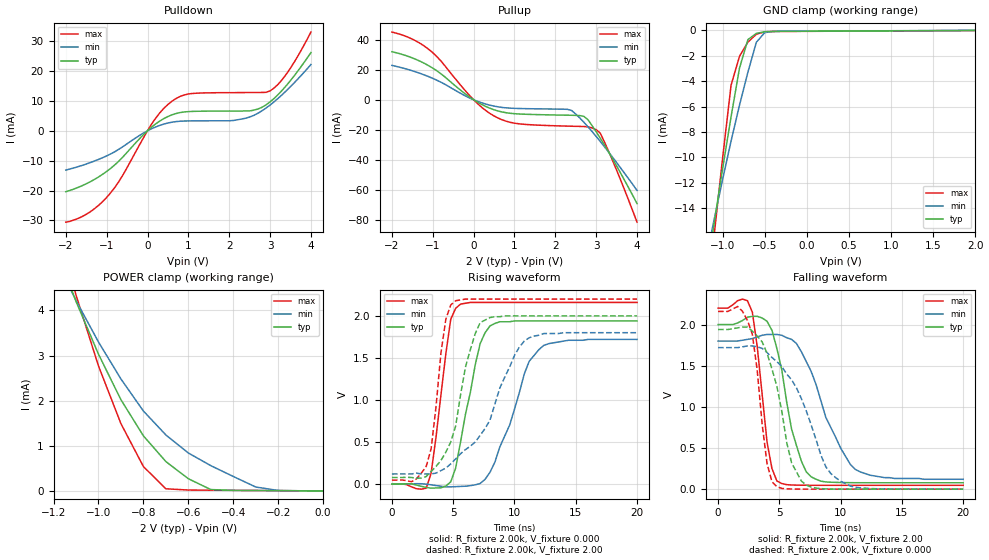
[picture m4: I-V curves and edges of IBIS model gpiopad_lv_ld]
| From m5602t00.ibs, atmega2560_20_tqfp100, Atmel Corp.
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|   Model gpiopad_lv_ld
[Model]   gpiopad_lv_ld
Model_type   I/O
Polarity   Non-Inverting
Enable   Active-High
Vinl =   0.60V
Vinh =   1.40V
Vmeas =   1.00V
Cref =  50.00pF
C_comp   4.21pF   4.21pF   4.61pF
[Temperature Range]   27.00   0.12k   -55.00
[Voltage Range]   2.00V   1.80V   2.20V
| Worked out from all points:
|   slope of the pulldown table from 0 to 0.3 V, typ, clamps not added: 92.3 ohm
|   slope of the pullup table from 0 to 0.3 V, typ, clamps not added: 66.4 ohm
|   GND clamp passes 1 mA (typ) near -0.71 V on its own axis
|   POWER clamp passes 1 mA (typ) near -0.76 V on its own axis
|   rising waveform, R_fixture 2.00k, V_fixture 0.000: 20-80 % time 1.56ns typ, 2.39ns min, 1.09ns max; typ from 0 V to 1.94 V
|   rising waveform, R_fixture 2.00k, V_fixture 2.00: 20-80 % time 1.76ns typ, 3.36ns min, 963ps max; typ from 0.078 V to 2 V
|   falling waveform, R_fixture 2.00k, V_fixture 2.00: 20-80 % time 1.6ns typ, 2.69ns min, 953ps max; typ from 2 V to 0.078 V
|   falling waveform, R_fixture 2.00k, V_fixture 0.000: 20-80 % time 1.68ns typ, 2.85ns min, 960ps max; typ from 1.94 V to 0 V
[Pulldown]
| voltage   I(typ)   I(min)   I(max)
-2V       -20.37mA   -13.12mA   -30.58mA
-1.5V     -17.71mA   -11.09mA   -27.95mA
-1V       -13.58mA   -8.36mA    -22.29mA
-600mV    -8.69mA    -5.24mA    -14.72mA
100mV     1.28mA     740uA      2.3mA
600mV     5.4mA      2.94mA     9.98mA
1V        6.48mA     3.36mA     12.39mA
2.1V      6.67mA     3.5mA      12.84mA
2.6V      6.96mA     5.2mA      12.88mA
3V        9.73mA     8.68mA     13.43mA
3.4V      15.24mA    13.5mA     19.07mA
4V        26.25mA    22.25mA    33.13mA
[Pullup]
| voltage   I(typ)   I(min)   I(max)
-2V       32.08mA    22.95mA    45.19mA
-1.5V     27.94mA    19.35mA    40.49mA
-1.1V     22.74mA    15.43mA    33.7mA
0V        0A         0A         0A
600mV     -7.51mA    -4.75mA    -12.24mA
1.1V      -9.48mA    -5.83mA    -16.03mA
2.4V      -10.36mA   -7.19mA    -17.68mA
2.7V      -11.11mA   -15.06mA   -17.89mA
3V        -21.38mA   -24.53mA   -19.98mA
3.1V      -25.69mA   -27.89mA   -22.32mA
3.3V      -34.72mA   -34.82mA   -34.18mA
4V        -69.32mA   -60.55mA   -81.76mA
[GND_clamp]
| voltage   I(typ)   I(min)   I(max)
-2V       -58.51mA   -46.45mA   -77.72mA
-1.2V     -19.57mA   -18.13mA   -22.37mA
-1.1V     -15.16mA   -14.88mA   -16.09mA
-1V       -10.88mA   -11.73mA   -10.05mA
-900mV    -6.81mA    -8.72mA    -4.32mA
-800mV    -2.97mA    -5.89mA    -2.04mA
-700mV    -720uA     -3.29mA    -920uA
-600mV    -230uA     -930uA     -300uA
-500mV    -100uA     -170uA     -110uA
-400mV    -75.52uA   -74.82uA   -83.8uA
2V        36.99pA    10.07uA    -6.36uA
[POWER_clamp]
| voltage   I(typ)   I(min)   I(max)
-2V       19.5mA     15.72mA    25.53mA
-1.2V     5.52mA     5.24mA     6.14mA
-1.1V     4.2mA      4.22mA     4.34mA
-1V       3.03mA     3.3mA      2.77mA
-900mV    2.02mA     2.48mA     1.49mA
-800mV    1.22mA     1.77mA     540uA
-700mV    650uA      1.24mA     47.1uA
-600mV    270uA      840uA      19.82uA
-500mV    29.93uA    560uA      15.93uA
-300mV    9.23uA     86.63uA    9.55uA
-200mV    6.15uA     10.07uA    6.37uA
0V        37.02pA    1.95nA     8.94pA
[Ramp]
| variable   typ   min   max
dV/dt_r   1.17/1.43n   1.03/2.31n   1.30/1.05n
dV/dt_f   1.15/1.56n   1.01/2.65n   1.29/0.91n
R_load = 2.00k
[Rising Waveform]
R_fixture = 2.00k
V_fixture = 0.000
V_fixture_min = 0.000
V_fixture_max = 0.000
| time   V(typ)   V(min)   V(max)
0s        0V         1.6uV      0V
2.8ns     -39.98mV   -1.06mV    -48.88mV
3.2ns     -48.25mV   -9.37mV    130mV
4.8ns     26.44mV    -33.24mV   1.96V
5.6ns     500mV      -27.64mV   2.14V
7.2ns     1.67V      6.63mV     2.16V
8ns       1.88V      140mV      2.16V
11.2ns    1.94V      1.46V      2.16V
12ns      1.94V      1.6V       2.16V
20ns      1.94V      1.72V      2.16V
[Rising Waveform]
R_fixture = 2.00k
V_fixture = 2.00
V_fixture_min = 1.80
V_fixture_max = 2.20
| time   V(typ)   V(min)   V(max)
0s        77.77mV    120mV      46.93mV
2.8ns     89.72mV    120mV      210mV
3.2ns     150mV      120mV      420mV
4.4ns     380mV      190mV      1.96V
5.2ns     690mV      300mV      2.18V
6ns       1.39V      410mV      2.2V
7.2ns     1.92V      580mV      2.2V
10ns      2V         1.53V      2.2V
11.2ns    2V         1.74V      2.2V
20ns      2V         1.8V       2.2V
[Falling Waveform]
R_fixture = 2.00k
V_fixture = 2.00
V_fixture_min = 1.80
V_fixture_max = 2.20
| time   V(typ)   V(min)   V(max)
0s        2V         1.8V       2.2V
2ns       2.05V      1.81V      2.31V
2.8ns     2.1V       1.83V      2.15V
4ns       2.04V      1.88V      570mV
4.8ns     1.71V      1.88V      100mV
6ns       730mV      1.82V      50.57mV
7.6ns     150mV      1.43V      47.27mV
8.8ns     87.68mV    870mV      46.94mV
11.2ns    78.3mV     240mV      46.93mV
20ns      77.76mV    120mV      46.93mV
[Falling Waveform]
R_fixture = 2.00k
V_fixture = 0.000
V_fixture_min = 0.000
V_fixture_max = 0.000
| time   V(typ)   V(min)   V(max)
0s        1.94V      1.72V      2.16V
1.6ns     1.96V      1.72V      2.22V
2.8ns     1.92V      1.74V      1.88V
4ns       1.65V      1.66V      310mV
4.8ns     1.25V      1.55V      29.69mV
6ns       320mV      1.33V      1.93mV
7.2ns     49.83mV    950mV      360uV
8.8ns     3mV        270mV      12.61uV
10.4ns    480uV      66.43mV    -15.88uV
20ns      5.59uV     22.16uV    -10.72uV
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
